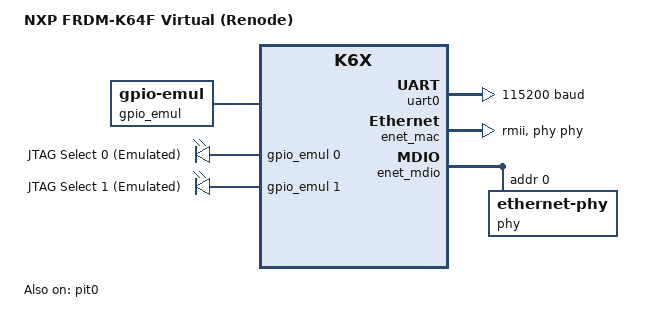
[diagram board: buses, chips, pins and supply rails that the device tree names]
/*
 * SPDX-License-Identifier: Apache-2.0
 * FRDM-K64F Virtual Board Device Tree for Renode Simulation
 */

/dts-v1/;

#include <nxp/nxp_k6x.dtsi>
#include "frdm_k64f_virtual-pinctrl.dtsi"
#include <zephyr/dt-bindings/gpio/gpio.h>
#include <zephyr/dt-bindings/clock/kinetis_sim.h>

/ {
	model = "NXP FRDM-K64F Virtual (Renode)";
	compatible = "nxp,mk64f12", "nxp,k64f", "nxp,k6x";

	chosen {
		zephyr,sram = &sram0;
		zephyr,flash = &flash0;
		zephyr,code-partition = &slot0_partition;
		/* UART0 console instead of USB CDC ACM (USB not simulated) */
		zephyr,console = &uart0;
		zephyr,shell-uart = &uart0;
		zephyr,settings-partition = &storage_partition;
		zephyr,entropy = &rnga;
	};

	aliases {
		/* JTAG select GPIO aliases using emulated GPIO */
		jtag-select0 = &jtag_select0_gpio;
		jtag-select1 = &jtag_select1_gpio;
	};

	/* Emulated GPIO controller for JTAG select lines */
	gpio_emul: gpio_emul {
		status = "okay";
		compatible = "zephyr,gpio-emul";
		rising-edge;
		falling-edge;
		gpio-controller;
		#gpio-cells = <2>;
		ngpios = <4>;
	};

	/* JTAG select GPIO nodes using emulated GPIO */
	jtag_select_gpios {
		compatible = "gpio-leds";

		jtag_select0_gpio: jtag_select_0 {
			gpios = <&gpio_emul 0 GPIO_ACTIVE_HIGH>;
			label = "JTAG Select 0 (Emulated)";
		};

		jtag_select1_gpio: jtag_select_1 {
			gpios = <&gpio_emul 1 GPIO_ACTIVE_HIGH>;
			label = "JTAG Select 1 (Emulated)";
		};
	};
};

&sim {
	pllfll-select = <KINETIS_SIM_PLLFLLSEL_MCGPLLCLK>;
	er32k-select = <KINETIS_SIM_ER32KSEL_RTC>;
};

&cpu0 {
	clock-frequency = <DT_FREQ_M(120)>;
};

&uart0 {
	status = "okay";
	current-speed = <115200>;
	pinctrl-0 = <&uart0_default>;
	pinctrl-names = "default";
};

/* Disable hardware GPIO controllers (not simulated in Renode K6xF) */
&gpioa { status = "disabled"; };
&gpiob { status = "disabled"; };
&gpioc { status = "disabled"; };
&gpiod { status = "disabled"; };
&gpioe { status = "disabled"; };

/* Flash partitions (same layout as real board for NVS compatibility) */
&flash0 {
	partitions {
		compatible = "fixed-partitions";
		#address-cells = <1>;
		#size-cells = <1>;

		boot_partition: partition@0 {
			label = "mcuboot";
			reg = <0x00000000 DT_SIZE_K(64)>;
			read-only;
		};

		slot0_partition: partition@10000 {
			label = "image-0";
			reg = <0x00010000 DT_SIZE_K(420)>;
		};

		slot1_partition: partition@79000 {
			label = "image-1";
			reg = <0x00079000 DT_SIZE_K(420)>;
		};

		storage_partition: partition@e2000 {
			label = "storage";
			reg = <0x000e2000 DT_SIZE_K(120)>;
		};
	};
};

/* Ethernet MAC - enabled for REST API testing */
&enet_mac {
	status = "okay";
	pinctrl-0 = <&pinmux_enet>;
	pinctrl-names = "default";
	phy-handle = <&phy>;
	zephyr,random-mac-address;
	phy-connection-type = "rmii";
};

&enet_mdio {
	status = "okay";
	pinctrl-0 = <&pinmux_enet_mdio>;
	pinctrl-names = "default";

	phy: phy@0 {
		compatible = "ethernet-phy";
		reg = <0>;
		status = "okay";
		fixed-link = "100BASE-T Full-Duplex";
	};
};

&enet_ptp_clock {
	status = "disabled"; /* Not needed for basic testing */
};

&edma0 {
	status = "okay";
};

&pit0 {
	status = "okay";
};
